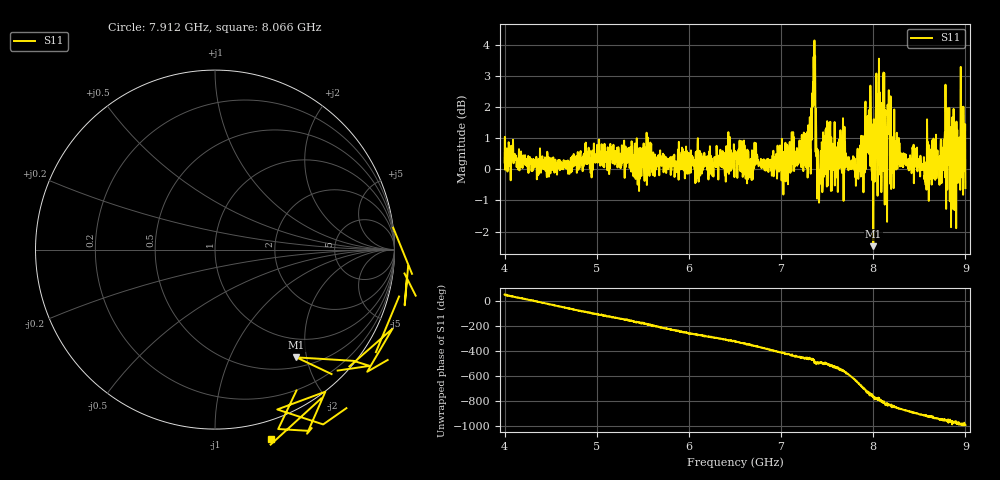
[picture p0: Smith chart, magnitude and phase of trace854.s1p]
! Created with skrf 1.8.0 (http://scikit-rf.org).
# Hz S RI R 50.0
!freq ReS11 ImS11
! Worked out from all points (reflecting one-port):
!   1601 points, 4 GHz to 9 GHz, reference 50 ohm
!   lowest |S11| = -2.5 dB at 8 GHz (marker M1), VSWR 7.08, Z = 32.9 - j91.1 ohm
!   phase of S11 starts at 54 deg and turns -1050 deg over the sweep
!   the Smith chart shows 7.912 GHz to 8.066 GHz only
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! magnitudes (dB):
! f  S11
! 4 GHz  0.2
! 4.625 GHz  0.0
! 5.25 GHz  0.1
! 5.875 GHz  0.2
! 6.5 GHz  0.6
! 7.125 GHz  0.3
! 7.297 GHz  1.2
! 7.353 GHz  3.6
! 7.412 GHz  -1.1
! 7.509 GHz  0.5
! 7.572 GHz  0.8
! 7.647 GHz  0.7
! 7.75 GHz  0.1
! 7.828 GHz  0.5
! 7.95 GHz  1.4
! 8 GHz  -2.5
! 8.047 GHz  -0.8
! 8.066 GHz  0.8
! 8.119 GHz  3.1
! 8.178 GHz  2.1
! 8.216 GHz  0.9
! 8.375 GHz  0.3
! 8.578 GHz  -0.7
! 8.803 GHz  -0.7
! 8.856 GHz  0.0
! 8.956 GHz  0.2
! 8.972 GHz  0.6
! 9 GHz  -0.6
